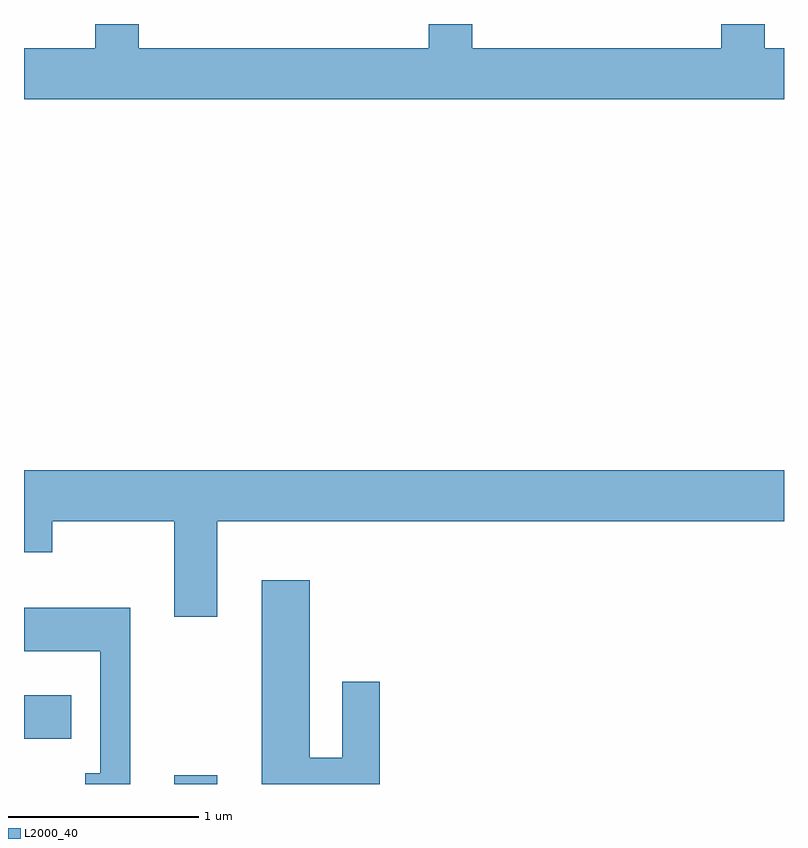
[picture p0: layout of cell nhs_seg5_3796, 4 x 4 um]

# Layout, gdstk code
import gdstk
lib = gdstk.Library(unit=1e-6, precision=1e-09)
def R(c, l, rs):  # rectangles x0, y0, x1, y1
    for r in rs: c.add(gdstk.rectangle(r[:2], r[2:], *l))
def P(c, l, *ps):  # polygons
    for p in ps: c.add(gdstk.Polygon(p, *l))
L2000_40 = (2000, 40)

nhs_seg5_3796 = lib.new_cell('nhs_seg5_3796')
R(nhs_seg5_3796, L2000_40, [(298.401,1462.072,298.629,1462.119), (297.611,1462.311,297.859,1462.539)])
P(nhs_seg5_3796, L2000_40, [(301.611,1465.944),(301.509,1465.944),(301.509,1466.072),(301.281,1466.072),(301.281,1465.944),(299.969,1465.944),(299.969,1466.072),(299.741,1466.072),(299.741,1465.944),(298.214,1465.944),(298.214,1466.072),(297.986,1466.072),(297.986,1465.944),(297.611,1465.944),(297.611,1465.676),(301.611,1465.676)],
  [(298.629,1463.456),(301.611,1463.456),(301.611,1463.724),(297.611,1463.724),(297.611,1463.291),(297.759,1463.291),(297.759,1463.456),(298.401,1463.456),(298.401,1462.951),(298.629,1462.951)],
  [(299.484,1462.609),(299.286,1462.609),(299.286,1462.209),(299.114,1462.209),(299.114,1463.144),(298.861,1463.144),(298.861,1462.072),(299.484,1462.072)],
  [(298.169,1462.999),(297.611,1462.999),(297.611,1462.771),(298.011,1462.771),(298.011,1462.129),(297.933,1462.129),(297.933,1462.072),(298.169,1462.072)])

lib.write_gds('nhs_seg5_3796.gds')
